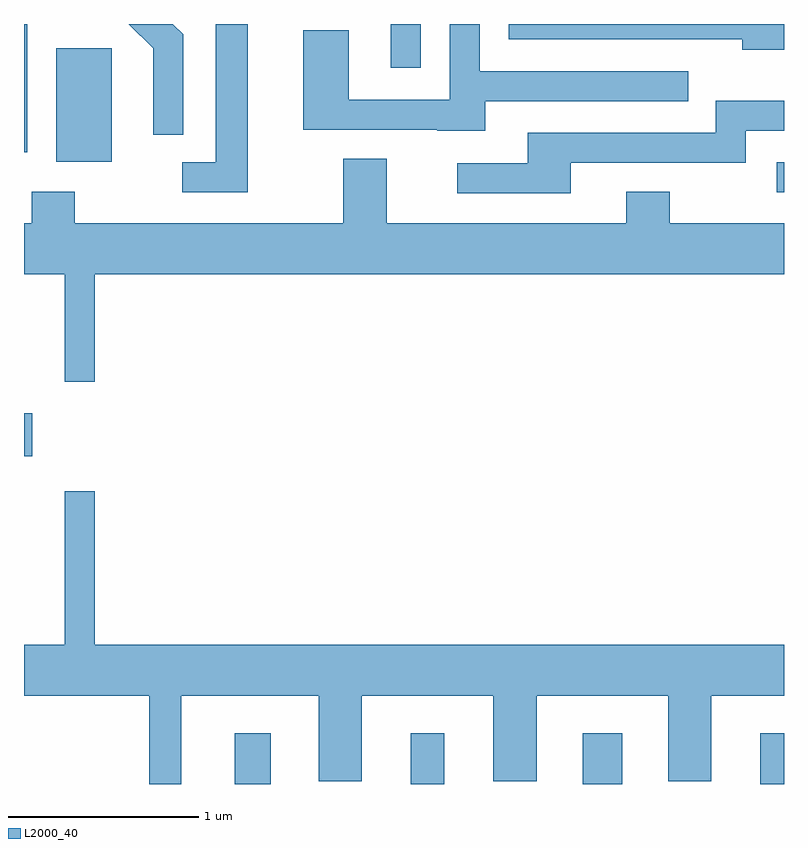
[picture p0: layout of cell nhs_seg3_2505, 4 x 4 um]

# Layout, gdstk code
import gdstk
lib = gdstk.Library(unit=1e-6, precision=1e-09)
def R(c, l, rs):  # rectangles x0, y0, x1, y1
    for r in rs: c.add(gdstk.rectangle(r[:2], r[2:], *l))
def P(c, l, *ps):  # polygons
    for p in ps: c.add(gdstk.Polygon(p, *l))
L2000_40 = (2000, 40)

nhs_seg3_2505 = lib.new_cell('nhs_seg3_2505')
R(nhs_seg3_2505, L2000_40, [(258.721,1229.892,258.909,1230.159), (259.646,1229.892,259.824,1230.159), (260.551,1229.892,260.759,1230.159), (261.486,1229.892,261.611,1230.159), (257.611,1231.616,257.654,1231.844), (261.573,1233.006,261.611,1233.164), (257.781,1233.166,258.074,1233.764), (257.611,1233.216,257.629,1233.892), (259.541,1233.663,259.699,1233.892)])
P(nhs_seg3_2505, L2000_40, [(258.789,1233.892),(258.621,1233.892),(258.621,1233.164),(258.443,1233.164),(258.443,1233.006),(258.789,1233.006)],
  [(260.039,1233.486),(261.108,1233.486),(261.108,1233.644),(260.009,1233.644),(260.009,1233.892),(259.851,1233.892),(259.851,1233.494),(259.319,1233.494),(259.319,1233.859),(259.081,1233.859),(259.081,1233.336),(259.785,1233.336),(259.785,1233.331),(260.039,1233.331)],
  [(261.611,1233.892),(260.161,1233.892),(260.161,1233.811),(261.391,1233.811),(261.391,1233.756),(261.611,1233.756)],
  [(258.449,1233.837),(258.394,1233.892),(258.163,1233.892),(258.291,1233.764),(258.291,1233.308),(258.449,1233.308)],
  [(260.489,1233.161),(261.409,1233.161),(261.409,1233.331),(261.611,1233.331),(261.611,1233.489),(261.251,1233.489),(261.251,1233.319),(260.261,1233.319),(260.261,1233.159),(259.892,1233.159),(259.892,1233.001),(260.489,1233.001)],
  [(257.984,1232.576),(261.611,1232.576),(261.611,1232.844),(261.009,1232.844),(261.009,1233.009),(260.781,1233.009),(260.781,1232.844),(259.519,1232.844),(259.519,1233.184),(259.291,1233.184),(259.291,1232.844),(257.879,1232.844),(257.879,1233.009),(257.651,1233.009),(257.651,1232.844),(257.611,1232.844),(257.611,1232.576),(257.826,1232.576),(257.826,1232.008),(257.984,1232.008)],
  [(258.439,1230.356),(259.161,1230.356),(259.161,1229.906),(259.389,1229.906),(259.389,1230.356),(260.081,1230.356),(260.081,1229.906),(260.309,1229.906),(260.309,1230.356),(261.001,1230.356),(261.001,1229.906),(261.229,1229.906),(261.229,1230.356),(261.611,1230.356),(261.611,1230.624),(257.984,1230.624),(257.984,1231.433),(257.826,1231.433),(257.826,1230.624),(257.611,1230.624),(257.611,1230.356),(258.271,1230.356),(258.271,1229.892),(258.439,1229.892)])

lib.write_gds('nhs_seg3_2505.gds')
